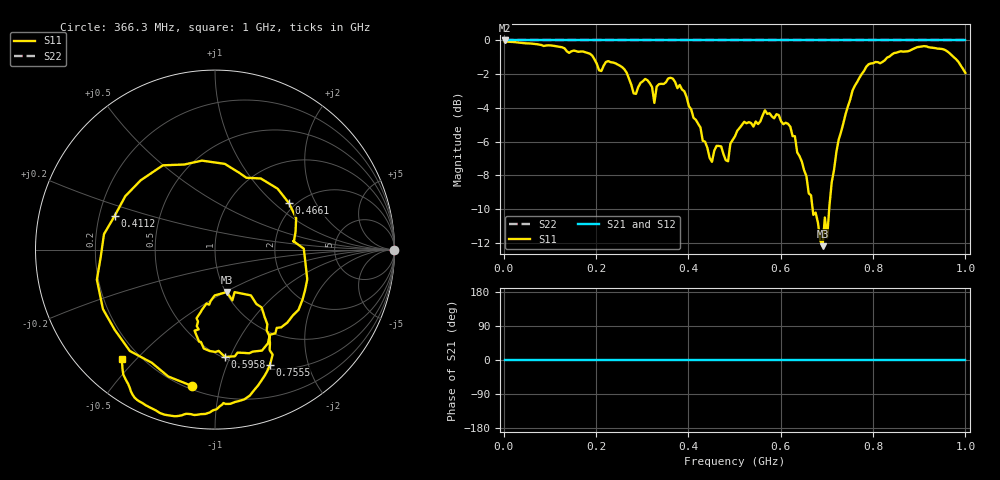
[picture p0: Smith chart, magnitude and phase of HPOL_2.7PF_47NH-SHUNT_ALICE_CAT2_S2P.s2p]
!Agilent N9923A: A.07.32
!Date: Friday, 21 February 2020 06:14:33
!Model: N9923A
!Serial: MY52412229
!GPS Latitude:
!GPS Longitude:
!GPS TimeStamp: 0001-01-01 00:00:00Z
!GPS Seconds Since Last Read: 0
!CHECKSUM:0354921214
!Correction: S11(ON U)S21()S12()S22()
!S2P File: Measurements:S11,S21,S12,S22:
# Hz S DB R 50
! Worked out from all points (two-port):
!   201 points, 2 MHz to 1 GHz, reference 50 ohm
!   highest |S21| = 0.00 dB at 2 MHz (marker M1); lowest = 0.0 dB at 2 MHz (marker M2)
!   |S21| within 3 dB of the highest: start of sweep to end of sweep
!   lowest |S11| = -12.2 dB at 690.6 MHz (marker M3), VSWR 1.65, Z = 50.6 - j25.5 ohm
!   |S11| at or under -10 dB: 669.2 MHz to 705 MHz (35.84 MHz wide, 5.22 % of centre)
!   |S22| runs from 0.0 to 0.0 dB; largest |S21 - S12| = 0
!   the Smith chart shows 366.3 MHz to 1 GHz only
!   S11 on the Smith chart (normalised r, x): 366.3 MHz: 0.22, -0.82; 411.2 MHz: 0.26, +0.15; 466.1 MHz: 1.85, +1.25; 595.8 MHz: 0.51, -0.96; 755.5 MHz: 0.56, -1.44; 1 GHz: 0.13, -0.45
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2000000  -0.06 179.4  0.00 0.0  0.00 0.0  0.00 0.0
9.681e7  -0.29 150.0  0.00 0.0  0.00 0.0  0.00 0.0
1.7166e8  -0.65 119.2  0.00 0.0  0.00 0.0  0.00 0.0
2.515e8  -1.49 63.9  0.00 0.0  0.00 0.0  0.00 0.0
3.0639e8  -2.28 3.4  0.00 0.0  0.00 0.0  0.00 0.0
3.3633e8  -2.59 -42.9  0.00 0.0  0.00 0.0  0.00 0.0
3.6627e8  -2.26 -99.4  0.00 0.0  0.00 0.0  0.00 0.0
3.9122e8  -3.01 -152.1  0.00 0.0  0.00 0.0  0.00 0.0
4.1118e8  -4.59 161.3  0.00 0.0  0.00 0.0  0.00 0.0
4.3613e8  -6.00 98.3  0.00 0.0  0.00 0.0  0.00 0.0
4.6607e8  -6.26 32.1  0.00 0.0  0.00 0.0  0.00 0.0
5.01e8  -5.68 -12.4  0.00 0.0  0.00 0.0  0.00 0.0
5.3593e8  -4.90 -49.6  0.00 0.0  0.00 0.0  0.00 0.0
5.9581e8  -4.43 -84.7  0.00 0.0  0.00 0.0  0.00 0.0
6.3573e8  -6.64 -104.2  0.00 0.0  0.00 0.0  0.00 0.0
6.7066e8  -10.34 -98.9  0.00 0.0  0.00 0.0  0.00 0.0
6.9062e8  -12.20 -74.6  0.00 0.0  0.00 0.0  0.00 0.0
7.1557e8  -7.66 -51.1  0.00 0.0  0.00 0.0  0.00 0.0
7.5549e8  -2.97 -64.4  0.00 0.0  0.00 0.0  0.00 0.0
8.3533e8  -0.96 -90.7  0.00 0.0  0.00 0.0  0.00 0.0
9.1018e8  -0.34 -107.1  0.00 0.0  0.00 0.0  0.00 0.0
1e9  -1.92 -130.5  0.00 0.0  0.00 0.0  0.00 0.0
